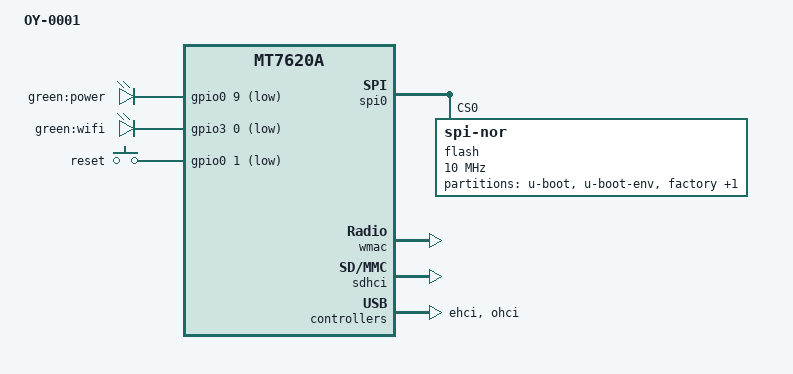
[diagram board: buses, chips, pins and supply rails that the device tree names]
#include "mt7620a.dtsi"

#include <dt-bindings/gpio/gpio.h>
#include <dt-bindings/input/input.h>

/ {
	compatible = "ohyeah,oy-0001", "ralink,mt7620a-soc";
	model = "OY-0001";

	aliases {
		led-boot = &led_power;
		led-failsafe = &led_power;
		led-running = &led_power;
		led-upgrade = &led_power;
	};

	chosen {
		bootargs = "console=ttyS0,115200";
	};

	leds {
		compatible = "gpio-leds";

		led_power: powerled {
			label = "green:power";
			gpios = <&gpio0 9 GPIO_ACTIVE_LOW>;
		};

		wifiled {
			label = "green:wifi";
			gpios = <&gpio3 0 GPIO_ACTIVE_LOW>;
		};
	};

	keys {
		compatible = "gpio-keys";

		s1 {
			label = "reset";
			gpios = <&gpio0 1 GPIO_ACTIVE_LOW>;
			linux,code = <KEY_RESTART>;
		};
	};
};

&gpio3 {
	status = "okay";
};

&spi0 {
	status = "okay";

	flash@0 {
		compatible = "jedec,spi-nor";
		reg = <0>;
		spi-max-frequency = <10000000>;

		partitions {
			compatible = "fixed-partitions";
			#address-cells = <1>;
			#size-cells = <1>;

			partition@0 {
				label = "u-boot";
				reg = <0x0 0x30000>;
				read-only;
			};

			partition@30000 {
				label = "u-boot-env";
				reg = <0x30000 0x10000>;
				read-only;
			};

			factory: partition@40000 {
				label = "factory";
				reg = <0x40000 0x10000>;
				read-only;
			};

			partition@50000 {
				compatible = "denx,uimage";
				label = "firmware";
				reg = <0x50000 0xfb0000>;
			};
		};
	};
};

&state_default {
	gpio {
		groups = "i2c", "uartf", "rgmii1", "rgmii2", "wled";
		function = "gpio";
	};
};

&ethernet {
	pinctrl-names = "default";
	pinctrl-0 = <&ephy_pins>;

	nvmem-cells = <&macaddr_factory_28>;
	nvmem-cell-names = "mac-address";

	mediatek,portmap = "llllw";
};

&wmac {
	ralink,mtd-eeprom = <&factory 0x0>;
};

&sdhci {
	status = "okay";
};

&ehci {
	status = "okay";
};

&ohci {
	status = "okay";
};

&factory {
	compatible = "nvmem-cells";
	#address-cells = <1>;
	#size-cells = <1>;

	macaddr_factory_28: macaddr@28 {
		reg = <0x28 0x6>;
	};
};
